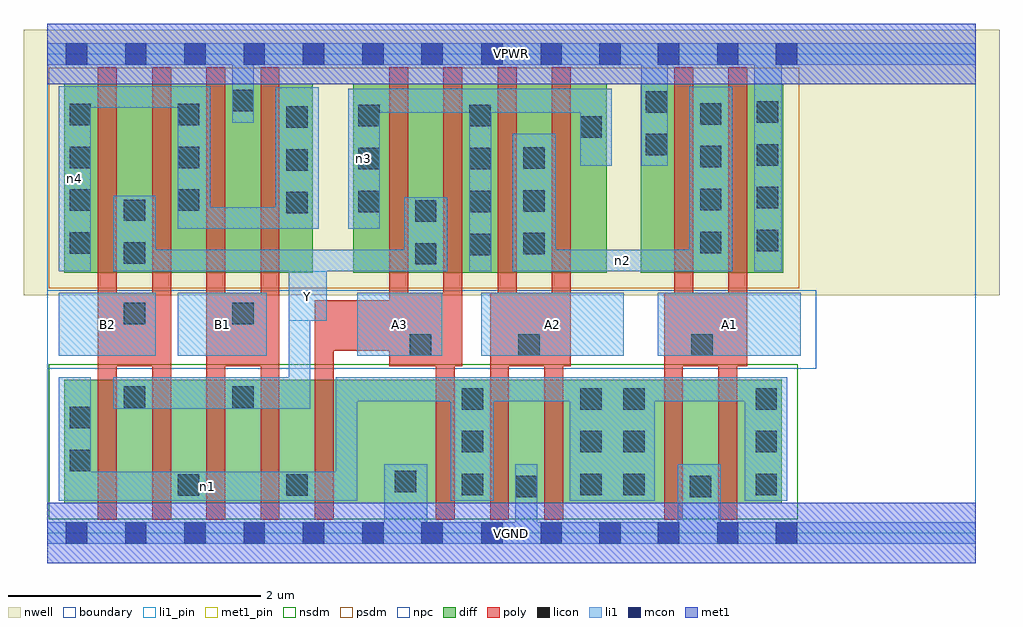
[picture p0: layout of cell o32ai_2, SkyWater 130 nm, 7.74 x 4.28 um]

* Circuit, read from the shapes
.subckt o32ai_2 A1 A2 A3 B1 B2 VGND VPWR Y n1 n2 n3 n4
XM1 Y B2 n1 VSUBS sky130_fd_pr__nfet_01v8 w=0.98 l=0.15 m=2
XM2 Y B1 n1 VSUBS sky130_fd_pr__nfet_01v8 w=0.98 l=0.15 m=2
XM3 VGND A3 n1 VSUBS sky130_fd_pr__nfet_01v8 w=0.98 l=0.15 m=2
XM4 VGND A2 n1 VSUBS sky130_fd_pr__nfet_01v8 w=0.98 l=0.15 m=2
XM5 VGND A1 n1 VSUBS sky130_fd_pr__nfet_01v8 w=0.98 l=0.15 m=2
XM6 Y B2 n4 n5 sky130_fd_pr__pfet_01v8 w=1.5 l=0.15 m=2
XM7 VPWR B1 n4 n5 sky130_fd_pr__pfet_01v8 w=1.5 l=0.15 m=2
XM8 Y A3 n3 n5 sky130_fd_pr__pfet_01v8 w=1.5 l=0.15 m=2
XM9 n2 A2 n3 n5 sky130_fd_pr__pfet_01v8 w=1.5 l=0.15 m=2
XM10 n2 A1 VPWR n5 sky130_fd_pr__pfet_01v8 w=1.5 l=0.15 m=2
.ends

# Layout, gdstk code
import gdstk
lib = gdstk.Library(unit=1e-6, precision=1e-09)
def R(c, l, rs):  # rectangles x0, y0, x1, y1
    for r in rs: c.add(gdstk.rectangle(r[:2], r[2:], *l))
def A(c, l, x, y, w, h, nx, ny, dx, dy):  # array of equal rectangles
    R(c, l, [(x+i*dx, y+j*dy, x+i*dx+w, y+j*dy+h) for i in range(nx) for j in range(ny)])
nwell = (64, 20)
diff = (65, 20)
poly = (66, 20)
licon = (66, 44)
li1_pin = (67, 16)
li1 = (67, 20)
mcon = (67, 44)
met1_pin = (68, 16)
met1 = (68, 20)
nsdm = (93, 44)
psdm = (94, 20)
npc = (95, 20)
boundary = (235, 4)

o32ai_2 = lib.new_cell('o32ai_2')
R(o32ai_2, nwell, [(-0.19,1.885,7.55,3.99), (0,1.885,7.36,3.99)])
R(o32ai_2, diff, [(0.135,0.235,5.825,1.215), (0.135,2.065,2.105,3.565), (2.425,2.065,4.435,3.565), (4.705,2.065,5.835,3.565)])
A(o32ai_2, poly, 0.4, 0.105, 0.15, 3.59, 4, 1, 0.43, 0)
A(o32ai_2, poly, 3.08, 0.105, 0.15, 1.8, 3, 1, 0.43, 0)
A(o32ai_2, poly, 2.71, 1.325, 0.15, 2.37, 4, 1, 0.43, 0)
R(o32ai_2, poly, [(2.12,0.105,2.27,1.845), (4.89,0.105,5.04,1.905), (5.32,0.105,5.47,1.905), (0.4,1.325,0.98,1.905), (1.26,1.325,1.84,1.905), (2.71,1.325,3.29,1.905), (3.51,1.325,4.15,1.905), (4.89,1.325,5.55,1.905), (4.97,1.325,5.12,3.695), (5.4,1.325,5.55,3.695), (2.12,1.445,3.29,1.845)])
A(o32ai_2, licon, 3.285, 0.3, 0.17, 0.17, 1, 3, 0, 0.34)
A(o32ai_2, licon, 4.225, 0.3, 0.17, 0.17, 1, 3, 0, 0.34)
A(o32ai_2, licon, 4.565, 0.3, 0.17, 0.17, 1, 3, 0, 0.34)
A(o32ai_2, licon, 5.615, 0.3, 0.17, 0.17, 1, 3, 0, 0.34)
A(o32ai_2, licon, 3.345, 2.205, 0.17, 0.17, 1, 4, 0, 0.34)
A(o32ai_2, licon, 3.775, 2.21, 0.17, 0.17, 1, 3, 0, 0.34)
A(o32ai_2, licon, 0.175, 2.215, 0.17, 0.17, 1, 4, 0, 0.34)
A(o32ai_2, licon, 5.175, 2.22, 0.17, 0.17, 1, 4, 0, 0.34)
A(o32ai_2, licon, 5.625, 2.235, 0.17, 0.17, 1, 4, 0, 0.34)
A(o32ai_2, licon, 1.895, 2.535, 0.17, 0.17, 1, 3, 0, 0.34)
A(o32ai_2, licon, 2.465, 2.545, 0.17, 0.17, 1, 3, 0, 0.34)
A(o32ai_2, licon, 1.035, 2.555, 0.17, 0.17, 1, 3, 0, 0.34)
R(o32ai_2, licon, [(3.715,0.285,3.885,0.455), (5.095,0.285,5.265,0.455), (1.035,0.295,1.205,0.465), (1.895,0.295,2.065,0.465), (2.755,0.325,2.925,0.495), (0.175,0.49,0.345,0.66), (0.175,0.83,0.345,1), (0.605,0.995,0.775,1.165), (1.465,0.995,1.635,1.165), (2.875,1.405,3.045,1.575), (3.735,1.405,3.905,1.575), (5.105,1.405,5.275,1.575), (0.605,1.655,0.775,1.825), (1.465,1.655,1.635,1.825), (2.915,2.13,3.085,2.3), (0.605,2.135,0.775,2.305), (2.915,2.47,3.085,2.64), (0.605,2.475,0.775,2.645), (4.745,2.995,4.915,3.165), (4.225,3.135,4.395,3.305), (4.745,3.335,4.915,3.505), (1.465,3.345,1.635,3.515)])
R(o32ai_2, li1_pin, [(0.09,1.405,0.86,1.905), (1.035,1.405,1.74,1.905), (2.455,1.405,3.13,1.905), (3.44,1.405,4.57,1.905), (4.84,1.405,5.975,1.905), (1.915,1.685,2.215,2.075)])
R(o32ai_2, li1, [(0,-0.085,7.36,0.085), (2.67,-0.085,3.01,0.545), (3.71,-0.085,3.885,0.545), (5,-0.085,5.34,0.545), (0.09,0.255,2.455,0.485), (0.09,0.255,0.345,1.235), (2.285,0.255,2.455,1.235), (3.2,0.255,3.54,1.235), (4.14,0.255,4.815,1.235), (5.53,0.255,5.865,1.235), (0.52,0.985,2.085,1.235), (1.915,0.985,2.085,2.245), (2.285,1.045,5.865,1.235), (0.09,1.405,0.86,1.905), (1.035,1.405,1.74,1.905), (2.455,1.405,3.13,1.905), (3.44,1.405,4.57,1.905), (4.84,1.405,5.975,1.905), (1.915,1.685,2.215,2.075), (0.09,2.075,0.345,3.545), (0.52,2.075,3.17,2.245), (0.52,2.075,0.86,2.675), (2.83,2.075,3.17,2.665), (3.345,2.075,3.52,3.525), (3.69,2.075,5.43,2.245), (3.69,2.075,4.03,3.165), (5.09,2.075,5.43,3.54), (5.605,2.075,5.825,3.885), (1.035,2.415,1.29,3.545), (1.035,2.415,2.15,2.585), (1.81,2.415,2.15,3.535), (2.385,2.415,2.635,3.525), (4.225,2.915,4.475,3.525), (4.71,2.915,4.92,3.885), (1.465,3.255,1.635,3.885), (2.385,3.335,4.475,3.525), (0.09,3.375,1.29,3.545), (0,3.715,7.36,3.885)])
A(o32ai_2, mcon, 0.145, -0.085, 0.17, 0.17, 7, 2, 0.47, 3.8)
A(o32ai_2, mcon, 3.91, -0.085, 0.17, 0.17, 3, 2, 0.465, 3.8)
R(o32ai_2, mcon, [(3.44,-0.085,3.61,0.085), (5.31,-0.085,5.48,0.085), (5.775,-0.085,5.945,0.085), (3.44,3.715,3.61,3.885), (5.31,3.715,5.48,3.885), (5.775,3.715,5.945,3.885)])
R(o32ai_2, met1_pin, [(0,-0.24,7.36,0.24), (0,3.56,7.36,4.04)])
R(o32ai_2, met1, [(0,-0.24,7.36,0.24), (0,3.56,7.36,4.04)])
R(o32ai_2, nsdm, [(0.01,0.11,5.95,1.34)])
R(o32ai_2, psdm, [(0.01,1.94,5.96,3.69)])
R(o32ai_2, npc, [(0,1.305,6.095,1.925)])
R(o32ai_2, boundary, [(0,0,7.36,3.8)])
o32ai_2.add(gdstk.Label('A1', (5.407,1.655), layer=67, texttype=5))
o32ai_2.add(gdstk.Label('A2', (4.005,1.655), layer=67, texttype=5))
o32ai_2.add(gdstk.Label('A3', (2.792,1.655), layer=67, texttype=5))
o32ai_2.add(gdstk.Label('B1', (1.387,1.655), layer=67, texttype=5))
o32ai_2.add(gdstk.Label('B2', (0.475,1.655), layer=67, texttype=5))
o32ai_2.add(gdstk.Label('Y', (2.065,1.88), layer=67, texttype=5))
o32ai_2.add(gdstk.Label('n1', (1.272,0.37), layer=67, texttype=5))
o32ai_2.add(gdstk.Label('n3', (2.51,2.97), layer=67, texttype=5))
o32ai_2.add(gdstk.Label('n2', (4.56,2.16), layer=67, texttype=5))
o32ai_2.add(gdstk.Label('n4', (0.217,2.81), layer=67, texttype=5))
o32ai_2.add(gdstk.Label('VPWR', (3.68,3.8), layer=68, texttype=5))
o32ai_2.add(gdstk.Label('VGND', (3.68,0), layer=68, texttype=5))
o32ai_2.add(gdstk.Label('A1', (5.407,1.655), layer=67, texttype=16))
o32ai_2.add(gdstk.Label('A2', (4.005,1.655), layer=67, texttype=16))
o32ai_2.add(gdstk.Label('A3', (2.792,1.655), layer=67, texttype=16))
o32ai_2.add(gdstk.Label('B1', (1.387,1.655), layer=67, texttype=16))
o32ai_2.add(gdstk.Label('B2', (0.475,1.655), layer=67, texttype=16))
o32ai_2.add(gdstk.Label('Y', (2.065,1.88), layer=67, texttype=16))
o32ai_2.add(gdstk.Label('VPWR', (3.68,3.8), layer=68, texttype=16))
o32ai_2.add(gdstk.Label('VGND', (3.68,0), layer=68, texttype=16))

lib.write_gds('o32ai_2.gds')
